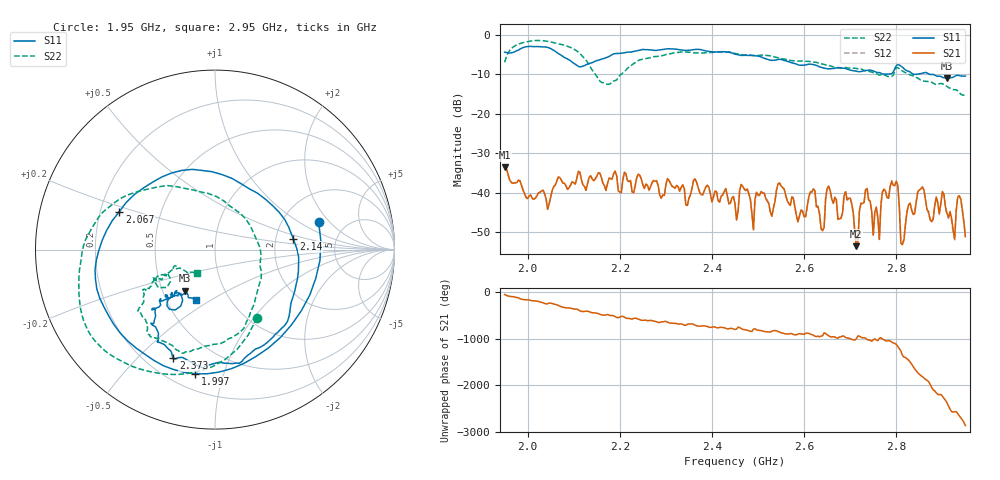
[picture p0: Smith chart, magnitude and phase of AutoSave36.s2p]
!Agilent N9923A: A.07.32
!Date: Thursday, 02 June 2016 23:11:22
!Model: N9923A
!Serial: MY52412257
!GPS Latitude:
!GPS Longitude:
!GPS TimeStamp: 0001-01-01 00:00:00Z
!GPS Seconds Since Last Read: 0
!CHECKSUM:0252620009
!Correction: S11(ON U)S21(ON U)S12(ON U)S22(ON U)
!S2P File: Measurements:S11,S21,S12,S22:
# Hz S DB R 50
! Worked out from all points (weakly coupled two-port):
!   301 points, 1.95 GHz to 2.95 GHz, reference 50 ohm
!   highest |S21| = -33.58 dB at 1.95 GHz (marker M1); lowest = -53.5 dB at 2.713 GHz (marker M2)
!   lowest |S11| = -11.0 dB at 2.91 GHz (marker M3), VSWR 1.79, Z = 32.6 - j16.2 ohm
!   |S11| at or under -10 dB: 2.769887 GHz to 2.782575 GHz (12.69 MHz wide, 0.457 % of centre); 2.836334 GHz to 2.847007 GHz (10.67 MHz wide, 0.376 % of centre); 2.871 GHz to end of sweep
!   |S22| runs from -15.7 to -1.5 dB; largest |S21 - S12| = 0.00073
!   S11 on the Smith chart (normalised r, x): 1.95 GHz: 3.18, +1.52; 1.997 GHz: 0.30, -0.81; 2.067 GHz: 0.28, +0.18; 2.14 GHz: 2.51, +0.37; 2.373 GHz: 0.31, -0.64; 2.95 GHz: 0.70, -0.43
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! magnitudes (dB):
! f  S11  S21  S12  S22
! 1.95 GHz  -4.5  -33.6  -33.6  -7.0
! 1.997 GHz  -3.1  -41.3  -41.1  -1.9
! 2.067 GHz  -4.8  -36.0  -36.1  -2.3
! 2.12 GHz  -8.0  -38.0  -38.0  -5.6
! 2.14 GHz  -7.1  -36.5  -36.4  -9.0
! 2.287 GHz  -3.9  -40.6  -40.6  -5.4
! 2.373 GHz  -3.8  -40.0  -39.8  -4.7
! 2.453 GHz  -5.0  -46.9  -46.9  -4.9
! 2.62 GHz  -7.6  -39.0  -39.0  -7.0
! 2.64 GHz  -8.4  -49.6  -49.5  -7.4
! 2.65 GHz  -8.7  -38.9  -38.6  -7.8
! 2.69 GHz  -8.6  -39.8  -39.7  -8.3
! 2.713 GHz  -9.2  -53.5  -52.4  -8.6
! 2.733 GHz  -9.1  -39.3  -39.2  -9.3
! 2.763 GHz  -9.6  -51.8  -51.8  -10.3
! 2.77 GHz  -10.0  -39.8  -39.7  -10.1
! 2.783 GHz  -10.0  -41.4  -41.2  -10.6
! 2.803 GHz  -7.6  -38.2  -38.2  -8.4
! 2.813 GHz  -8.3  -53.1  -52.8  -9.2
! 2.857 GHz  -9.8  -38.7  -38.4  -11.8
! 2.91 GHz  -11.0  -45.2  -45.7  -13.1
! 2.95 GHz  -10.5  -51.1  -51.0  -15.7
